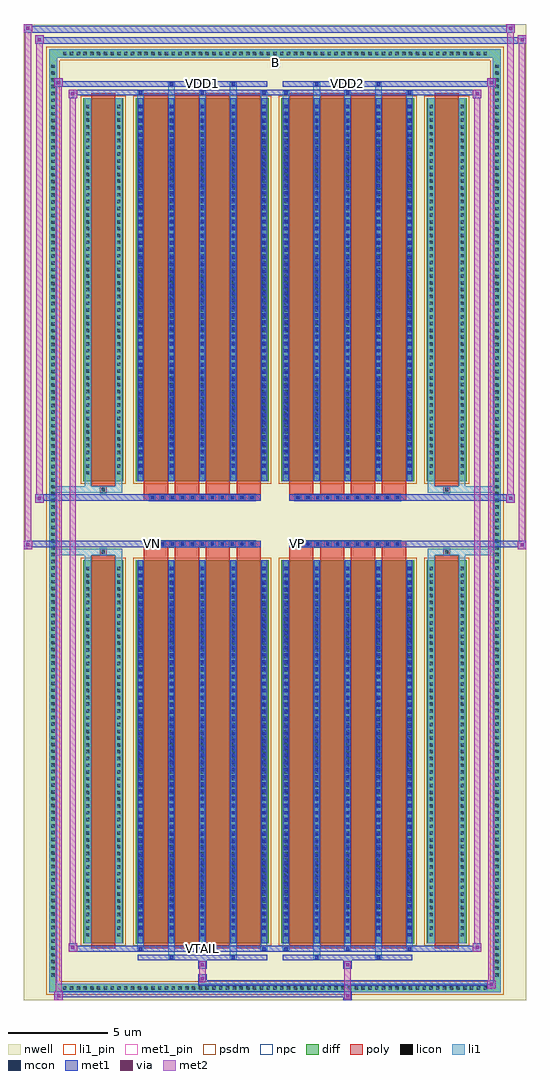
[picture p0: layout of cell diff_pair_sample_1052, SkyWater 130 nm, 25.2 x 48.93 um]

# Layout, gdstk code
import gdstk
lib = gdstk.Library(unit=1e-6, precision=5e-09)
def R(c, l, rs):  # rectangles x0, y0, x1, y1
    for r in rs: c.add(gdstk.rectangle(r[:2], r[2:], *l))
def A(c, l, x, y, w, h, nx, ny, dx, dy):  # array of equal rectangles
    R(c, l, [(x+i*dx, y+j*dy, x+i*dx+w, y+j*dy+h) for i in range(nx) for j in range(ny)])
def P(c, l, *ps):  # polygons
    for p in ps: c.add(gdstk.Polygon(p, *l))
nwell = (64, 20)
diff = (65, 20)
poly = (66, 20)
licon = (66, 44)
li1_pin = (67, 16)
li1 = (67, 20)
mcon = (67, 44)
met1_pin = (68, 16)
met1 = (68, 20)
via = (68, 44)
met2 = (69, 20)
psdm = (94, 20)
npc = (95, 20)

diff_pair_sample_1052 = lib.new_cell('diff_pair_sample_1052')
R(diff_pair_sample_1052, nwell, [(-12.6,-24.03,12.6,24.9), (-9.92,-22.22,-0.01,-0.8), (0.01,-22.22,9.92,-0.8), (-9.92,0.8,-0.01,22.22), (0.01,0.8,9.92,22.22)])
A(diff_pair_sample_1052, diff, -10.745, -23.63, 0.41, 0.41, 63, 2, 0.34, 46.85)
A(diff_pair_sample_1052, diff, -11.33, -22.985, 0.41, 0.41, 1, 135, 0, 0.34)
A(diff_pair_sample_1052, diff, 10.92, -22.985, 0.41, 0.41, 1, 135, 0, 0.34)
R(diff_pair_sample_1052, diff, [(-10.745,-23.63,10.745,-23.22), (-11.33,-22.985,-10.92,22.985), (10.92,-22.985,11.33,22.985), (-9.61,-21.175,-7.61,-1.985), (-6.97,-21.175,-0.32,-1.985), (0.32,-21.175,6.97,-1.985), (7.61,-21.175,9.61,-1.985), (-9.61,1.985,-7.61,21.175), (-6.97,1.985,-0.32,21.175), (0.32,1.985,6.97,21.175), (7.61,1.985,9.61,21.175), (-10.745,23.22,10.745,23.63)])
P(diff_pair_sample_1052, diff, [(11.33,23.63),(-11.33,23.63),(-11.33,-23.22),(-10.92,-23.22),(-10.92,23.22),(10.92,23.22),(10.92,-23.22),(-10.92,-23.22),(-11.33,-23.22),(-11.33,-23.63),(11.33,-23.63)])
A(diff_pair_sample_1052, poly, -6.58, -21.425, 1.22, 19.69, 4, 2, 1.55, 23.16)
A(diff_pair_sample_1052, poly, 0.71, -21.425, 1.22, 19.69, 4, 2, 1.55, 23.16)
A(diff_pair_sample_1052, poly, -6.58, -1.735, 1.22, 0.405, 4, 2, 1.55, 3.065)
A(diff_pair_sample_1052, poly, 0.71, -1.735, 1.22, 0.405, 4, 2, 1.55, 3.065)
A(diff_pair_sample_1052, poly, -6.31, -1.33, 0.33, 0.33, 11, 2, 0.5, 2.33)
A(diff_pair_sample_1052, poly, 0.98, -1.33, 0.33, 0.33, 11, 2, 0.5, 2.33)
R(diff_pair_sample_1052, poly, [(-9.22,-21.425,-8,-1.735), (8,-21.425,9.22,-1.735), (-8.775,-1.735,-8.445,-1.405), (-8.775,-1.735,-8.445,-1.405), (8.445,-1.735,8.775,-1.405), (8.445,-1.735,8.775,-1.405), (-6.58,-1.33,-0.71,-1), (0.71,-1.33,6.58,-1), (-6.58,1,-0.71,1.33), (0.71,1,6.58,1.33), (-8.775,1.405,-8.445,1.735), (-8.775,1.405,-8.445,1.735), (8.445,1.405,8.775,1.735), (8.445,1.405,8.775,1.735), (-9.22,1.735,-8,21.425), (8,1.735,9.22,21.425)])
A(diff_pair_sample_1052, licon, -10.625, -23.51, 0.17, 0.17, 63, 2, 0.34, 46.85)
A(diff_pair_sample_1052, licon, -11.21, -22.865, 0.17, 0.17, 1, 135, 0, 0.34)
A(diff_pair_sample_1052, licon, 11.04, -22.865, 0.17, 0.17, 1, 135, 0, 0.34)
A(diff_pair_sample_1052, licon, -9.47, -20.845, 0.17, 0.17, 1, 55, 0, 0.34)
A(diff_pair_sample_1052, licon, -7.92, -20.845, 0.17, 0.17, 1, 55, 0, 0.34)
A(diff_pair_sample_1052, licon, -6.83, -20.845, 0.17, 0.17, 5, 55, 1.55, 0.34)
A(diff_pair_sample_1052, licon, 0.46, -20.845, 0.17, 0.17, 5, 55, 1.55, 0.34)
A(diff_pair_sample_1052, licon, 7.75, -20.845, 0.17, 0.17, 1, 55, 0, 0.34)
A(diff_pair_sample_1052, licon, 9.3, -20.845, 0.17, 0.17, 1, 55, 0, 0.34)
A(diff_pair_sample_1052, licon, -6.23, -1.25, 0.17, 0.17, 11, 2, 0.5, 2.33)
A(diff_pair_sample_1052, licon, 1.06, -1.25, 0.17, 0.17, 11, 2, 0.5, 2.33)
A(diff_pair_sample_1052, licon, -9.47, 2.315, 0.17, 0.17, 1, 55, 0, 0.34)
A(diff_pair_sample_1052, licon, -7.92, 2.315, 0.17, 0.17, 1, 55, 0, 0.34)
A(diff_pair_sample_1052, licon, -6.83, 2.315, 0.17, 0.17, 5, 55, 1.55, 0.34)
A(diff_pair_sample_1052, licon, 0.46, 2.315, 0.17, 0.17, 5, 55, 1.55, 0.34)
A(diff_pair_sample_1052, licon, 7.75, 2.315, 0.17, 0.17, 1, 55, 0, 0.34)
A(diff_pair_sample_1052, licon, 9.3, 2.315, 0.17, 0.17, 1, 55, 0, 0.34)
R(diff_pair_sample_1052, licon, [(-8.695,-1.655,-8.525,-1.485), (8.525,-1.655,8.695,-1.485), (-8.695,1.485,-8.525,1.655), (8.525,1.485,8.695,1.655)])
R(diff_pair_sample_1052, li1_pin, [(-0.25,22.72,0.25,23.22)])
A(diff_pair_sample_1052, li1, -10.705, -23.59, 0.33, 0.33, 63, 2, 0.34, 46.85)
A(diff_pair_sample_1052, li1, -11.29, -22.945, 0.33, 0.33, 1, 135, 0, 0.34)
A(diff_pair_sample_1052, li1, 10.96, -22.945, 0.33, 0.33, 1, 135, 0, 0.34)
A(diff_pair_sample_1052, li1, -6.91, -21.55, 0.33, 0.375, 3, 2, 3.1, 42.725)
A(diff_pair_sample_1052, li1, -6.83, -21.55, 0.17, 0.17, 3, 2, 3.1, 42.93)
A(diff_pair_sample_1052, li1, 0.38, -21.55, 0.33, 0.375, 3, 2, 3.1, 42.725)
A(diff_pair_sample_1052, li1, 0.46, -21.55, 0.17, 0.17, 3, 2, 3.1, 42.93)
A(diff_pair_sample_1052, li1, -6.91, -21.175, 0.33, 19.19, 5, 2, 1.55, 23.16)
A(diff_pair_sample_1052, li1, 0.38, -21.175, 0.33, 19.19, 5, 2, 1.55, 23.16)
A(diff_pair_sample_1052, li1, -9.55, -20.925, 0.33, 0.33, 1, 55, 0, 0.34)
A(diff_pair_sample_1052, li1, -8, -20.925, 0.33, 0.33, 1, 55, 0, 0.34)
A(diff_pair_sample_1052, li1, -6.91, -20.925, 0.33, 0.33, 5, 55, 1.55, 0.34)
A(diff_pair_sample_1052, li1, 0.38, -20.925, 0.33, 0.33, 5, 55, 1.55, 0.34)
A(diff_pair_sample_1052, li1, 7.67, -20.925, 0.33, 0.33, 1, 55, 0, 0.34)
A(diff_pair_sample_1052, li1, 9.22, -20.925, 0.33, 0.33, 1, 55, 0, 0.34)
A(diff_pair_sample_1052, li1, -6.83, -20.845, 0.17, 0.17, 5, 52, 1.55, 0.36)
A(diff_pair_sample_1052, li1, -6.83, -20.845, 0.17, 18.53, 5, 2, 1.55, 23.16)
A(diff_pair_sample_1052, li1, 0.46, -20.845, 0.17, 0.17, 5, 52, 1.55, 0.36)
A(diff_pair_sample_1052, li1, 0.46, -20.845, 0.17, 18.53, 5, 2, 1.55, 23.16)
A(diff_pair_sample_1052, li1, -6.31, -1.33, 0.33, 0.33, 11, 2, 0.5, 2.33)
A(diff_pair_sample_1052, li1, 0.98, -1.33, 0.33, 0.33, 11, 2, 0.5, 2.33)
A(diff_pair_sample_1052, li1, -9.55, 2.235, 0.33, 0.33, 1, 55, 0, 0.34)
A(diff_pair_sample_1052, li1, -8, 2.235, 0.33, 0.33, 1, 55, 0, 0.34)
A(diff_pair_sample_1052, li1, -6.91, 2.235, 0.33, 0.33, 5, 55, 1.55, 0.34)
A(diff_pair_sample_1052, li1, 0.38, 2.235, 0.33, 0.33, 5, 55, 1.55, 0.34)
A(diff_pair_sample_1052, li1, 7.67, 2.235, 0.33, 0.33, 1, 55, 0, 0.34)
A(diff_pair_sample_1052, li1, 9.22, 2.235, 0.33, 0.33, 1, 55, 0, 0.34)
A(diff_pair_sample_1052, li1, -6.83, 2.315, 0.17, 0.17, 5, 52, 1.55, 0.36)
A(diff_pair_sample_1052, li1, 0.46, 2.315, 0.17, 0.17, 5, 52, 1.55, 0.36)
R(diff_pair_sample_1052, li1, [(-11.33,-23.63,-10.92,-23.22), (-11.33,-23.63,-10.92,-23.22), (-10.92,-23.63,10.92,-23.22), (10.92,-23.63,11.33,-23.22), (10.92,-23.63,11.33,-23.22), (-11.33,-23.22,-10.92,23.22), (10.92,-23.22,11.33,23.22), (-5.36,-21.98,-5.03,-21.175), (-5.28,-21.98,-5.11,-21.81), (-2.26,-21.98,-1.93,-21.175), (-2.18,-21.98,-2.01,-21.81), (1.93,-21.98,2.26,-21.175), (2.01,-21.98,2.18,-21.81), (5.03,-21.98,5.36,-21.175), (5.11,-21.98,5.28,-21.81), (-9.55,-21.175,-9.22,-1.985), (-8,-21.175,-7.67,-1.985), (7.67,-21.175,8,-1.985), (9.22,-21.175,9.55,-1.985), (-9.55,-1.985,-9.22,-1.405), (-8,-1.985,-7.67,-1.405), (7.67,-1.985,8,-1.405), (9.22,-1.985,9.55,-1.405), (-11.33,-1.735,-8.775,-1.405), (-9.55,-1.735,-8.775,-1.405), (-8.775,-1.735,-8.445,-1.405), (-8.445,-1.735,-7.67,-1.405), (7.67,-1.735,8.445,-1.405), (8.445,-1.735,8.775,-1.405), (8.445,-1.735,11.33,-1.405), (8.775,-1.735,9.55,-1.405), (-11.33,1.405,-8.775,1.735), (-9.55,1.405,-8.775,1.735), (-9.55,1.405,-9.22,1.985), (-8.775,1.405,-8.445,1.735), (-8.445,1.405,-7.67,1.735), (-8,1.405,-7.67,1.985), (7.67,1.405,8.445,1.735), (7.67,1.405,8,1.985), (8.445,1.405,8.775,1.735), (8.445,1.405,11.33,1.735), (8.775,1.405,9.55,1.735), (9.22,1.405,9.55,1.985), (-9.55,1.985,-9.22,21.175), (-8,1.985,-7.67,21.175), (7.67,1.985,8,21.175), (9.22,1.985,9.55,21.175), (-5.36,21.175,-5.03,21.98), (-2.26,21.175,-1.93,21.98), (1.93,21.175,2.26,21.98), (5.03,21.175,5.36,21.98), (-5.28,21.81,-5.11,21.98), (-2.18,21.81,-2.01,21.98), (2.01,21.81,2.18,21.98), (5.11,21.81,5.28,21.98), (-11.33,23.22,-10.92,23.63), (-11.33,23.22,-10.92,23.63), (-10.92,23.22,10.92,23.63), (10.92,23.22,11.33,23.63), (10.92,23.22,11.33,23.63)])
A(diff_pair_sample_1052, mcon, -6.83, -21.55, 0.17, 0.17, 3, 2, 3.1, 42.93)
A(diff_pair_sample_1052, mcon, 0.46, -21.55, 0.17, 0.17, 3, 2, 3.1, 42.93)
A(diff_pair_sample_1052, mcon, -6.83, -20.845, 0.17, 0.17, 5, 52, 1.55, 0.36)
A(diff_pair_sample_1052, mcon, 0.46, -20.845, 0.17, 0.17, 5, 52, 1.55, 0.36)
A(diff_pair_sample_1052, mcon, -6.23, -1.25, 0.17, 0.17, 11, 2, 0.5, 2.33)
A(diff_pair_sample_1052, mcon, 1.06, -1.25, 0.17, 0.17, 11, 2, 0.5, 2.33)
A(diff_pair_sample_1052, mcon, -6.83, 2.315, 0.17, 0.17, 5, 52, 1.55, 0.36)
A(diff_pair_sample_1052, mcon, 0.46, 2.315, 0.17, 0.17, 5, 52, 1.55, 0.36)
R(diff_pair_sample_1052, mcon, [(-5.28,-21.98,-5.11,-21.81), (-2.18,-21.98,-2.01,-21.81), (2.01,-21.98,2.18,-21.81), (5.11,-21.98,5.28,-21.81), (-5.28,21.81,-5.11,21.98), (-2.18,21.81,-2.01,21.98), (2.01,21.81,2.18,21.98), (5.11,21.81,5.28,21.98)])
R(diff_pair_sample_1052, met1_pin, [(-3.78,-21.59,-3.51,-21.32), (-6.28,-1.29,-6.01,-1.02), (1.01,-1.29,1.28,-1.02), (-3.78,21.77,-3.51,22.04), (3.51,21.77,3.78,22.04)])
A(diff_pair_sample_1052, met1, -6.89, -21.61, 0.29, 0.29, 3, 2, 3.1, 42.93)
A(diff_pair_sample_1052, met1, 0.4, -21.61, 0.29, 0.29, 3, 2, 3.1, 42.93)
A(diff_pair_sample_1052, met1, -6.89, -21.175, 0.29, 19.19, 5, 2, 1.55, 23.16)
A(diff_pair_sample_1052, met1, 0.4, -21.175, 0.29, 19.19, 5, 2, 1.55, 23.16)
A(diff_pair_sample_1052, met1, -6.89, -20.905, 0.29, 0.29, 5, 52, 1.55, 0.36)
A(diff_pair_sample_1052, met1, 0.4, -20.905, 0.29, 0.29, 5, 52, 1.55, 0.36)
A(diff_pair_sample_1052, met1, -6.29, -1.31, 0.29, 0.29, 11, 2, 0.5, 2.33)
A(diff_pair_sample_1052, met1, 1, -1.31, 0.29, 0.29, 11, 2, 0.5, 2.33)
A(diff_pair_sample_1052, met1, -6.89, 2.255, 0.29, 0.29, 5, 52, 1.55, 0.36)
A(diff_pair_sample_1052, met1, 0.4, 2.255, 0.29, 0.29, 5, 52, 1.55, 0.36)
R(diff_pair_sample_1052, met1, [(-11.06,-24.03,-10.63,-23.6), (3.43,-24.03,3.86,-23.6), (-11.06,-23.89,3.86,-23.6), (10.63,-23.46,11.06,-23.03), (-3.86,-23.32,11.06,-23.03), (-3.86,-23.18,-3.43,-22.75), (-3.86,-22.47,-3.43,-22.04), (3.43,-22.47,3.86,-22.04), (-6.89,-22.04,-0.4,-21.75), (-5.34,-22.04,-5.05,-21.75), (-2.24,-22.04,-1.95,-21.75), (0.4,-22.04,6.89,-21.75), (1.95,-22.04,2.24,-21.75), (5.05,-22.04,5.34,-21.75), (-10.35,-21.61,-9.92,-21.18), (-10.35,-21.61,-6.89,-21.32), (-6.89,-21.61,-0.4,-21.32), (-0.4,-21.61,0.4,-21.32), (0.4,-21.61,6.89,-21.32), (6.89,-21.61,10.35,-21.32), (9.92,-21.61,10.35,-21.18), (-12.6,-1.43,-12.17,-1), (12.17,-1.43,12.6,-1), (-12.6,-1.33,-0.71,-1), (-6.58,-1.33,-0.71,-1), (0.71,-1.33,6.58,-1), (0.71,-1.33,12.6,-1), (-12.03,0.9,-11.6,1.33), (11.6,0.9,12.03,1.33), (-12.03,1,-6.58,1.33), (-6.58,1,-0.71,1.33), (0.71,1,6.58,1.33), (6.58,1,12.03,1.33), (-10.35,21.18,-9.92,21.61), (9.92,21.18,10.35,21.61), (-10.35,21.32,-6.89,21.61), (-6.89,21.32,-0.4,21.61), (-0.4,21.32,0.4,21.61), (0.4,21.32,6.89,21.61), (6.89,21.32,10.35,21.61), (-11.06,21.75,-10.63,22.18), (-11.06,21.75,-6.89,22.04), (-6.89,21.75,-0.4,22.04), (-5.34,21.75,-5.05,22.04), (-2.24,21.75,-1.95,22.04), (0.4,21.75,6.89,22.04), (1.95,21.75,2.24,22.04), (5.05,21.75,5.34,22.04), (6.89,21.75,11.06,22.04), (10.63,21.75,11.06,22.18), (-12.03,23.9,-11.6,24.33), (-12.03,23.9,-9.92,24.23), (-9.92,23.9,9.92,24.23), (9.92,23.9,12.6,24.23), (12.17,23.9,12.6,24.33), (-12.6,24.47,-12.17,24.9), (-12.6,24.47,-9.92,24.8), (-9.92,24.47,9.92,24.8), (9.92,24.47,12.03,24.8), (11.6,24.47,12.03,24.9)])
R(diff_pair_sample_1052, via, [(-10.92,-23.89,-10.77,-23.74), (3.57,-23.89,3.72,-23.74), (10.77,-23.32,10.92,-23.17), (-3.72,-23.04,-3.57,-22.89), (-3.72,-22.33,-3.57,-22.18), (3.57,-22.33,3.72,-22.18), (-10.21,-21.47,-10.06,-21.32), (10.06,-21.47,10.21,-21.32), (-12.46,-1.29,-12.31,-1.14), (12.31,-1.29,12.46,-1.14), (-11.89,1.04,-11.74,1.19), (11.74,1.04,11.89,1.19), (-10.21,21.32,-10.06,21.47), (10.06,21.32,10.21,21.47), (-10.92,21.89,-10.77,22.04), (10.77,21.89,10.92,22.04), (-11.89,24.04,-11.74,24.19), (12.31,24.04,12.46,24.19), (-12.46,24.61,-12.31,24.76), (11.74,24.61,11.89,24.76)])
R(diff_pair_sample_1052, met2, [(-11.06,-24.03,-10.63,-23.6), (-10.99,-24.03,-10.7,22.18), (-10.7,-24.03,-10.63,-23.6), (-11.01,-23.98,-10.68,-23.65), (3.48,-23.98,3.81,-23.65), (3.48,-23.65,3.81,-22.42), (10.63,-23.46,11.06,-23.03), (10.7,-23.46,10.99,22.18), (10.99,-23.46,11.06,-23.03), (10.68,-23.41,11.01,-23.08), (-3.81,-23.13,-3.48,-22.8), (-3.81,-22.8,-3.48,-22.42), (-3.81,-22.42,-3.48,-22.09), (3.48,-22.42,3.81,-22.09), (-10.35,-21.61,-9.92,-21.18), (-10.28,-21.61,-9.99,21.61), (-9.99,-21.61,-9.92,-21.18), (9.92,-21.61,10.35,-21.18), (9.99,-21.61,10.28,21.61), (10.28,-21.61,10.35,-21.18), (-10.3,-21.56,-9.97,-21.23), (9.97,-21.56,10.3,-21.23), (-12.6,-1.43,-12.17,-1), (-12.55,-1.43,-12.22,24.9), (-12.22,-1.43,-12.17,-1), (12.17,-1.43,12.6,-1), (12.22,-1.43,12.55,24.33), (12.55,-1.43,12.6,-1), (-12.55,-1.38,-12.22,-1.05), (12.22,-1.38,12.55,-1.05), (-12.03,0.9,-11.6,1.33), (-11.98,0.9,-11.65,24.33), (-11.65,0.9,-11.6,1.33), (11.6,0.9,12.03,1.33), (11.65,0.9,11.98,24.9), (11.98,0.9,12.03,1.33), (-11.98,0.95,-11.65,1.28), (11.65,0.95,11.98,1.28), (-10.35,21.18,-9.92,21.61), (-9.99,21.18,-9.92,21.61), (9.92,21.18,10.35,21.61), (10.28,21.18,10.35,21.61), (-10.3,21.23,-9.97,21.56), (9.97,21.23,10.3,21.56), (-11.06,21.75,-10.63,22.18), (-10.7,21.75,-10.63,22.18), (10.63,21.75,11.06,22.18), (10.99,21.75,11.06,22.18), (-11.01,21.8,-10.68,22.13), (10.68,21.8,11.01,22.13), (-12.03,23.9,-11.6,24.33), (-11.65,23.9,-11.6,24.33), (12.17,23.9,12.6,24.33), (12.55,23.9,12.6,24.33), (-11.98,23.95,-11.65,24.28), (12.22,23.95,12.55,24.28), (-12.6,24.47,-12.17,24.9), (-12.22,24.47,-12.17,24.9), (11.6,24.47,12.03,24.9), (11.98,24.47,12.03,24.9), (-12.55,24.52,-12.22,24.85), (11.65,24.52,11.98,24.85)])
R(diff_pair_sample_1052, psdm, [(-9.74,-21.305,-7.48,-1.855), (-7.1,-21.305,-0.19,-1.855), (0.19,-21.305,7.1,-1.855), (7.48,-21.305,9.74,-1.855), (-9.74,1.855,-7.48,21.305), (-7.1,1.855,-0.19,21.305), (0.19,1.855,7.1,21.305), (7.48,1.855,9.74,21.305)])
P(diff_pair_sample_1052, psdm, [(11.46,23.76),(-11.46,23.76),(-11.46,-23.09),(-10.79,-23.09),(-10.79,23.09),(10.79,23.09),(10.79,-23.09),(-10.79,-23.09),(-11.46,-23.09),(-11.46,-23.76),(11.46,-23.76)])
A(diff_pair_sample_1052, npc, -6.33, -1.35, 0.37, 0.37, 11, 2, 0.5, 2.33)
A(diff_pair_sample_1052, npc, 0.96, -1.35, 0.37, 0.37, 11, 2, 0.5, 2.33)
R(diff_pair_sample_1052, npc, [(-8.795,-1.755,-8.425,-1.385), (8.425,-1.755,8.795,-1.385), (-6.33,-1.35,-5.46,-0.98), (-6.33,-1.35,-5.46,-0.98), (-5.83,-1.35,-4.96,-0.98), (-5.83,-1.35,-4.96,-0.98), (-5.33,-1.35,-4.46,-0.98), (-5.33,-1.35,-4.46,-0.98), (-4.83,-1.35,-3.96,-0.98), (-4.83,-1.35,-3.96,-0.98), (-4.33,-1.35,-3.46,-0.98), (-4.33,-1.35,-3.46,-0.98), (-3.83,-1.35,-2.96,-0.98), (-3.83,-1.35,-2.96,-0.98), (-3.33,-1.35,-2.46,-0.98), (-3.33,-1.35,-2.46,-0.98), (-2.83,-1.35,-1.96,-0.98), (-2.83,-1.35,-1.96,-0.98), (-2.33,-1.35,-1.46,-0.98), (-2.33,-1.35,-1.46,-0.98), (-1.83,-1.35,-0.96,-0.98), (-1.83,-1.35,-0.96,-0.98), (0.96,-1.35,1.83,-0.98), (0.96,-1.35,1.83,-0.98), (1.46,-1.35,2.33,-0.98), (1.46,-1.35,2.33,-0.98), (1.96,-1.35,2.83,-0.98), (1.96,-1.35,2.83,-0.98), (2.46,-1.35,3.33,-0.98), (2.46,-1.35,3.33,-0.98), (2.96,-1.35,3.83,-0.98), (2.96,-1.35,3.83,-0.98), (3.46,-1.35,4.33,-0.98), (3.46,-1.35,4.33,-0.98), (3.96,-1.35,4.83,-0.98), (3.96,-1.35,4.83,-0.98), (4.46,-1.35,5.33,-0.98), (4.46,-1.35,5.33,-0.98), (4.96,-1.35,5.83,-0.98), (4.96,-1.35,5.83,-0.98), (5.46,-1.35,6.33,-0.98), (5.46,-1.35,6.33,-0.98), (-6.33,0.98,-5.46,1.35), (-6.33,0.98,-5.46,1.35), (-5.83,0.98,-4.96,1.35), (-5.83,0.98,-4.96,1.35), (-5.33,0.98,-4.46,1.35), (-5.33,0.98,-4.46,1.35), (-4.83,0.98,-3.96,1.35), (-4.83,0.98,-3.96,1.35), (-4.33,0.98,-3.46,1.35), (-4.33,0.98,-3.46,1.35), (-3.83,0.98,-2.96,1.35), (-3.83,0.98,-2.96,1.35), (-3.33,0.98,-2.46,1.35), (-3.33,0.98,-2.46,1.35), (-2.83,0.98,-1.96,1.35), (-2.83,0.98,-1.96,1.35), (-2.33,0.98,-1.46,1.35), (-2.33,0.98,-1.46,1.35), (-1.83,0.98,-0.96,1.35), (-1.83,0.98,-0.96,1.35), (0.96,0.98,1.83,1.35), (0.96,0.98,1.83,1.35), (1.46,0.98,2.33,1.35), (1.46,0.98,2.33,1.35), (1.96,0.98,2.83,1.35), (1.96,0.98,2.83,1.35), (2.46,0.98,3.33,1.35), (2.46,0.98,3.33,1.35), (2.96,0.98,3.83,1.35), (2.96,0.98,3.83,1.35), (3.46,0.98,4.33,1.35), (3.46,0.98,4.33,1.35), (3.96,0.98,4.83,1.35), (3.96,0.98,4.83,1.35), (4.46,0.98,5.33,1.35), (4.46,0.98,5.33,1.35), (4.96,0.98,5.83,1.35), (4.96,0.98,5.83,1.35), (5.46,0.98,6.33,1.35), (5.46,0.98,6.33,1.35), (-8.795,1.385,-8.425,1.755), (8.425,1.385,8.795,1.755)])
diff_pair_sample_1052.add(gdstk.Label('VTAIL', (-3.645,-21.455), layer=68, texttype=5))
diff_pair_sample_1052.add(gdstk.Label('VN', (-6.145,-1.155), layer=68, texttype=5))
diff_pair_sample_1052.add(gdstk.Label('VP', (1.145,-1.155), layer=68, texttype=5))
diff_pair_sample_1052.add(gdstk.Label('B', (0,22.97), layer=67, texttype=5))
diff_pair_sample_1052.add(gdstk.Label('VDD2', (3.645,21.905), layer=68, texttype=5))
diff_pair_sample_1052.add(gdstk.Label('VDD1', (-3.645,21.905), layer=68, texttype=5))

lib.write_gds('diff_pair_sample_1052.gds')
